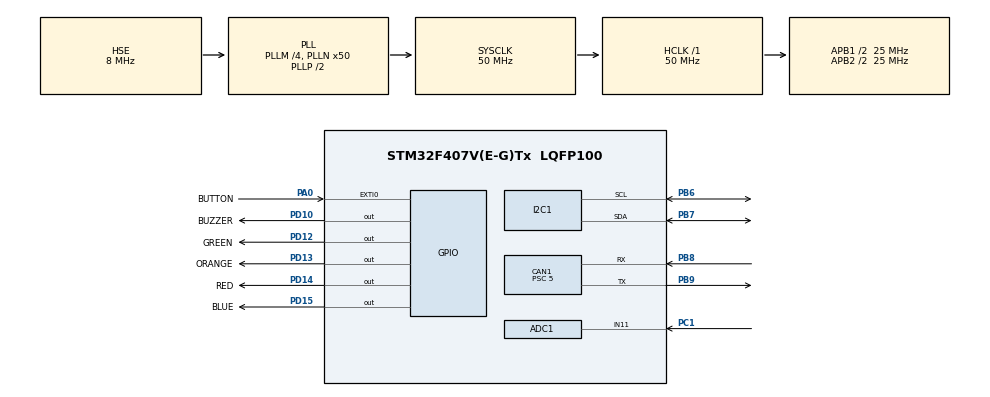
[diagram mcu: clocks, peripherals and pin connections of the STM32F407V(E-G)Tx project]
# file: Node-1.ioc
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ADC1.Channel-4\#ChannelRegularConversion=ADC_CHANNEL_11
ADC1.NbrOfConversionFlag=1
ADC1.Rank-4\#ChannelRegularConversion=1
ADC1.Resolution=ADC_RESOLUTION_10B
ADC1.SamplingTime-4\#ChannelRegularConversion=ADC_SAMPLETIME_3CYCLES
ADC1.master=1
CAN1.BS1=CAN_BS1_8TQ
CAN1.CalculateBaudRate=500000
CAN1.CalculateTimeBit=2000
CAN1.CalculateTimeQuantum=200.0
CAN1.Prescaler=5
Dma.I2C1_RX.0.Direction=DMA_PERIPH_TO_MEMORY
Dma.I2C1_RX.0.FIFOMode=DMA_FIFOMODE_DISABLE
Dma.I2C1_RX.0.Instance=DMA1_Stream0
Dma.I2C1_RX.0.MemDataAlignment=DMA_MDATAALIGN_BYTE
Dma.I2C1_RX.0.MemInc=DMA_MINC_ENABLE
Dma.I2C1_RX.0.Mode=DMA_NORMAL
Dma.I2C1_RX.0.PeriphDataAlignment=DMA_PDATAALIGN_BYTE
Dma.I2C1_RX.0.PeriphInc=DMA_PINC_DISABLE
Dma.I2C1_RX.0.Priority=DMA_PRIORITY_LOW
Dma.I2C1_TX.1.Direction=DMA_MEMORY_TO_PERIPH
Dma.I2C1_TX.1.FIFOMode=DMA_FIFOMODE_DISABLE
Dma.I2C1_TX.1.Instance=DMA1_Stream6
Dma.I2C1_TX.1.MemDataAlignment=DMA_MDATAALIGN_BYTE
Dma.I2C1_TX.1.MemInc=DMA_MINC_ENABLE
Dma.I2C1_TX.1.Mode=DMA_NORMAL
Dma.I2C1_TX.1.PeriphDataAlignment=DMA_PDATAALIGN_BYTE
Dma.I2C1_TX.1.PeriphInc=DMA_PINC_DISABLE
Dma.I2C1_TX.1.Priority=DMA_PRIORITY_LOW
Dma.Request0=I2C1_RX
Dma.Request1=I2C1_TX
Mcu.Family=STM32F4
Mcu.Name=STM32F407V(E-G)Tx
Mcu.Package=LQFP100
NVIC.ADC_IRQn=true\:0\:0\:false\:false\:true\:true\:true\:true
NVIC.CAN1_RX0_IRQn=true\:0\:0\:false\:false\:true\:true\:true\:true
NVIC.CAN1_SCE_IRQn=true\:0\:0\:false\:false\:true\:true\:true\:true
NVIC.CAN1_TX_IRQn=true\:0\:0\:false\:false\:true\:true\:true\:true
NVIC.DMA1_Stream0_IRQn=true\:0\:0\:false\:false\:true\:false\:true\:true
NVIC.DMA1_Stream6_IRQn=true\:0\:0\:false\:false\:true\:false\:true\:true
NVIC.EXTI0_IRQn=true\:0\:0\:false\:false\:true\:true\:true\:true
NVIC.PriorityGroup=NVIC_PRIORITYGROUP_0
NVIC.TIM6_DAC_IRQn=true\:0\:0\:false\:false\:true\:true\:true\:true
PA0-WKUP.GPIO_Label=BUTTON
PA0-WKUP.Signal=GPXTI0
PB6.GPIO_Pu=GPIO_PULLUP
PB6.Mode=I2C
PB6.Signal=I2C1_SCL
PB7.GPIO_Pu=GPIO_PULLUP
PB7.Mode=I2C
PB7.Signal=I2C1_SDA
PB8.GPIO_PuPd=GPIO_PULLUP
PB8.Mode=CAN_Activate
PB8.Signal=CAN1_RX
PB9.GPIO_PuPd=GPIO_PULLUP
PB9.Mode=CAN_Activate
PB9.Signal=CAN1_TX
PC1.Signal=ADCx_IN11
PD10.GPIO_Label=BUZZER
PD10.Signal=GPIO_Output
PD12.GPIO_Label=GREEN
PD12.Signal=GPIO_Output
PD13.GPIO_Label=ORANGE
PD13.Signal=GPIO_Output
PD14.GPIO_Label=RED
PD14.Signal=GPIO_Output
PD15.GPIO_Label=BLUE
PD15.Signal=GPIO_Output
PH0-OSC_IN.Mode=HSE-External-Oscillator
PH0-OSC_IN.Signal=RCC_OSC_IN
PH1-OSC_OUT.Mode=HSE-External-Oscillator
PH1-OSC_OUT.Signal=RCC_OSC_OUT
ProjectManager.HeapSize=0x200
ProjectManager.StackSize=0x400
ProjectManager.TargetToolchain=STM32CubeIDE
RCC.48MHZClocksFreq_Value=14285714.285714285
RCC.AHBFreq_Value=50000000
RCC.APB1CLKDivider=RCC_HCLK_DIV2
RCC.APB1Freq_Value=25000000
RCC.APB1TimFreq_Value=50000000
RCC.APB2CLKDivider=RCC_HCLK_DIV2
RCC.APB2Freq_Value=25000000
RCC.APB2TimFreq_Value=50000000
RCC.CortexFreq_Value=50000000
RCC.HCLKFreq_Value=50000000
RCC.HSE_VALUE=8000000
RCC.HSI_VALUE=16000000
RCC.LSE_VALUE=32768
RCC.PLLM=4
RCC.PLLN=50
RCC.PLLQ=7
RCC.PLLSourceVirtual=RCC_PLLSOURCE_HSE
RCC.SYSCLKFreq_VALUE=50000000
RCC.SYSCLKSource=RCC_SYSCLKSOURCE_PLLCLK
RCC.VCOOutputFreq_Value=100000000
SH.ADCx_IN11.0=ADC1_IN11,IN11
TIM6.Period=499
TIM6.Prescaler=50-1
VP_TIM6_VS_ClockSourceINT.Mode=Enable_Timer
board=STM32F407G-DISC1

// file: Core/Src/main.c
/* USER CODE BEGIN Header */
/**
  ******************************************************************************
  * @file           : main.c
  * @brief          : Main program body
  ******************************************************************************
  * @attention
  *
  * Copyright (c) 2024 STMicroelectronics.
  * All rights reserved.
  *
  * This software is licensed under terms that can be found in the LICENSE file
  * in the root directory of this software component.
  * If no LICENSE file comes with this software, it is provided AS-IS.
  *
  ******************************************************************************
  */
/* USER CODE END Header */
#include "main.h"

/* USER CODE BEGIN Includes */
#include "math.h"
#include "stdio.h"
#include "string.h"
/* USER CODE END Includes */

ADC_HandleTypeDef hadc1;

CAN_HandleTypeDef hcan1;

I2C_HandleTypeDef hi2c1;
DMA_HandleTypeDef hdma_i2c1_tx;
DMA_HandleTypeDef hdma_i2c1_rx;

TIM_HandleTypeDef htim6;

/* USER CODE BEGIN PV */
uint8_t I2cData[2];
uint8_t Temperature = 0  ;
int RawTemp = 0 ;
uint8_t ButtonFlag = 0 ;
uint8_t EtatButton = 0 ;
uint8_t AdcConvertCpltFlag = 0 ;
uint8_t AdcValue = 0;
////////////CAN///////////////
uint8_t aTxData[3];
uint8_t CanFlag = 0 ;
uint32_t TxMailbox;
CAN_TxHeaderTypeDef TxHeader;
/* USER CODE END PV */

void SystemClock_Config(void);
static void MX_GPIO_Init(void);
static void MX_DMA_Init(void);
static void MX_I2C1_Init(void);
static void MX_CAN1_Init(void);
static void MX_TIM6_Init(void);
static void MX_ADC1_Init(void);
/* USER CODE BEGIN PFP */
static uint8_t Read_Temperature(void);
static void CAN1_Tx(void) ;
static void Button_Urgence(void);
static uint8_t Rythem_Cardique(void);
/* USER CODE END PFP */

int main(void)
{

  /* MCU Configuration--------------------------------------------------------*/

  /* Reset of all peripherals, Initializes the Flash interface and the Systick. */
  HAL_Init();

  /* Configure the system clock */
  SystemClock_Config();

  /* Initialize all configured peripherals */
  MX_GPIO_Init();
  MX_DMA_Init();
  MX_I2C1_Init();
  MX_CAN1_Init();
  MX_TIM6_Init();
  MX_ADC1_Init();
  /* USER CODE BEGIN 2 */
 if(HAL_I2C_IsDeviceReady(&hi2c1,0xB5,1,100)!=HAL_OK)
 {
  	Error_Handler();
 }
 if (HAL_CAN_Start(&hcan1) !=HAL_OK)
 {
	  Error_Handler();
 }
 if ( HAL_CAN_ActivateNotification(&hcan1,CAN_IT_RX_FIFO0_MSG_PENDING | CAN_IT_TX_MAILBOX_EMPTY )!= HAL_OK)
  {
    Error_Handler();
  }
 if ( HAL_ADC_Start_IT( &hadc1 ) != HAL_OK )
 {
	  Error_Handler();
 }

  /* USER CODE END 2 */

  /* Infinite loop */
  while (1)
  {

    /* USER CODE BEGIN 3 */
	  //Button_Urgence();
	  Rythem_Cardique();
	  Read_Temperature();
	  CAN1_Tx();

	  if( 1 == CanFlag )
	  {
		  HAL_GPIO_WritePin( GREEN_GPIO_Port, GREEN_Pin , GPIO_PIN_SET);
		  HAL_Delay(1000);
		  HAL_GPIO_WritePin( GREEN_GPIO_Port,  GREEN_Pin , GPIO_PIN_RESET);
		  CanFlag = 0;
	  }
	  else if ( 2 == CanFlag )
	  {
		  HAL_GPIO_WritePin(RED_GPIO_Port, RED_Pin , GPIO_PIN_SET);
		  HAL_Delay(1000);
		  HAL_GPIO_WritePin(RED_GPIO_Port, RED_Pin   , GPIO_PIN_RESET);
		  CanFlag = 0;
	  }

      HAL_Delay(50);
  }
  /* USER CODE END 3 */
}

void SystemClock_Config(void)
{
  RCC_OscInitTypeDef RCC_OscInitStruct = {0};
  RCC_ClkInitTypeDef RCC_ClkInitStruct = {0};

  /** Configure the main internal regulator output voltage
  */
  __HAL_RCC_PWR_CLK_ENABLE();
  __HAL_PWR_VOLTAGESCALING_CONFIG(PWR_REGULATOR_VOLTAGE_SCALE1);

  /** Initializes the RCC Oscillators according to the specified parameters
  * in the RCC_OscInitTypeDef structure.
  */
  RCC_OscInitStruct.OscillatorType = RCC_OSCILLATORTYPE_HSE;
  RCC_OscInitStruct.HSEState = RCC_HSE_ON;
  RCC_OscInitStruct.PLL.PLLState = RCC_PLL_ON;
  RCC_OscInitStruct.PLL.PLLSource = RCC_PLLSOURCE_HSE;
  RCC_OscInitStruct.PLL.PLLM = 4;
  RCC_OscInitStruct.PLL.PLLN = 50;
  RCC_OscInitStruct.PLL.PLLP = RCC_PLLP_DIV2;
  RCC_OscInitStruct.PLL.PLLQ = 7;
  if (HAL_RCC_OscConfig(&RCC_OscInitStruct) != HAL_OK)
  {
    Error_Handler();
  }

  /** Initializes the CPU, AHB and APB buses clocks
  */
  RCC_ClkInitStruct.ClockType = RCC_CLOCKTYPE_HCLK|RCC_CLOCKTYPE_SYSCLK
                              |RCC_CLOCKTYPE_PCLK1|RCC_CLOCKTYPE_PCLK2;
  RCC_ClkInitStruct.SYSCLKSource = RCC_SYSCLKSOURCE_PLLCLK;
  RCC_ClkInitStruct.AHBCLKDivider = RCC_SYSCLK_DIV1;
  RCC_ClkInitStruct.APB1CLKDivider = RCC_HCLK_DIV2;
  RCC_ClkInitStruct.APB2CLKDivider = RCC_HCLK_DIV2;

  if (HAL_RCC_ClockConfig(&RCC_ClkInitStruct, FLASH_LATENCY_1) != HAL_OK)
  {
    Error_Handler();
  }
}

static void MX_ADC1_Init(void)
{

  ADC_ChannelConfTypeDef sConfig = {0};

  /** Configure the global features of the ADC (Clock, Resolution, Data Alignment and number of conversion)
  */
  hadc1.Instance = ADC1;
  hadc1.Init.ClockPrescaler = ADC_CLOCK_SYNC_PCLK_DIV2;
  hadc1.Init.Resolution = ADC_RESOLUTION_10B;
  hadc1.Init.ScanConvMode = DISABLE;
  hadc1.Init.ContinuousConvMode = DISABLE;
  hadc1.Init.DiscontinuousConvMode = DISABLE;
  hadc1.Init.ExternalTrigConvEdge = ADC_EXTERNALTRIGCONVEDGE_NONE;
  hadc1.Init.ExternalTrigConv = ADC_SOFTWARE_START;
  hadc1.Init.DataAlign = ADC_DATAALIGN_RIGHT;
  hadc1.Init.NbrOfConversion = 1;
  hadc1.Init.DMAContinuousRequests = DISABLE;
  hadc1.Init.EOCSelection = ADC_EOC_SINGLE_CONV;
  if (HAL_ADC_Init(&hadc1) != HAL_OK)
  {
    Error_Handler();
  }

  /** Configure for the selected ADC regular channel its corresponding rank in the sequencer and its sample time.
  */
  sConfig.Channel = ADC_CHANNEL_11;
  sConfig.Rank = 1;
  sConfig.SamplingTime = ADC_SAMPLETIME_3CYCLES;
  if (HAL_ADC_ConfigChannel(&hadc1, &sConfig) != HAL_OK)
  {
    Error_Handler();
  }

}

static void MX_CAN1_Init(void)
{

  hcan1.Instance = CAN1;
  hcan1.Init.Prescaler = 5;
  hcan1.Init.Mode = CAN_MODE_NORMAL;
  hcan1.Init.SyncJumpWidth = CAN_SJW_1TQ;
  hcan1.Init.TimeSeg1 = CAN_BS1_8TQ;
  hcan1.Init.TimeSeg2 = CAN_BS2_1TQ;
  hcan1.Init.TimeTriggeredMode = DISABLE;
  hcan1.Init.AutoBusOff = DISABLE;
  hcan1.Init.AutoWakeUp = DISABLE;
  hcan1.Init.AutoRetransmission = DISABLE;
  hcan1.Init.ReceiveFifoLocked = DISABLE;
  hcan1.Init.TransmitFifoPriority = DISABLE;
  if (HAL_CAN_Init(&hcan1) != HAL_OK)
  {
    Error_Handler();
  }

}

static void MX_I2C1_Init(void)
{

  hi2c1.Instance = I2C1;
  hi2c1.Init.ClockSpeed = 100000;
  hi2c1.Init.DutyCycle = I2C_DUTYCYCLE_2;
  hi2c1.Init.OwnAddress1 = 0;
  hi2c1.Init.AddressingMode = I2C_ADDRESSINGMODE_7BIT;
  hi2c1.Init.DualAddressMode = I2C_DUALADDRESS_DISABLE;
  hi2c1.Init.OwnAddress2 = 0;
  hi2c1.Init.GeneralCallMode = I2C_GENERALCALL_DISABLE;
  hi2c1.Init.NoStretchMode = I2C_NOSTRETCH_DISABLE;
  if (HAL_I2C_Init(&hi2c1) != HAL_OK)
  {
    Error_Handler();
  }

}

static void MX_TIM6_Init(void)
{

  TIM_MasterConfigTypeDef sMasterConfig = {0};

  htim6.Instance = TIM6;
  htim6.Init.Prescaler = 50-1;
  htim6.Init.CounterMode = TIM_COUNTERMODE_UP;
  htim6.Init.Period = 499;
  htim6.Init.AutoReloadPreload = TIM_AUTORELOAD_PRELOAD_DISABLE;
  if (HAL_TIM_Base_Init(&htim6) != HAL_OK)
  {
    Error_Handler();
  }
  sMasterConfig.MasterOutputTrigger = TIM_TRGO_RESET;
  sMasterConfig.MasterSlaveMode = TIM_MASTERSLAVEMODE_DISABLE;
  if (HAL_TIMEx_MasterConfigSynchronization(&htim6, &sMasterConfig) != HAL_OK)
  {
    Error_Handler();
  }

}

static void MX_DMA_Init(void)
{

  /* DMA controller clock enable */
  __HAL_RCC_DMA1_CLK_ENABLE();

  /* DMA interrupt init */
  /* DMA1_Stream0_IRQn interrupt configuration */
  HAL_NVIC_SetPriority(DMA1_Stream0_IRQn, 0, 0);
  HAL_NVIC_EnableIRQ(DMA1_Stream0_IRQn);
  /* DMA1_Stream6_IRQn interrupt configuration */
  HAL_NVIC_SetPriority(DMA1_Stream6_IRQn, 0, 0);
  HAL_NVIC_EnableIRQ(DMA1_Stream6_IRQn);

}

static void MX_GPIO_Init(void)
{
  GPIO_InitTypeDef GPIO_InitStruct = {0};

  /* GPIO Ports Clock Enable */
  __HAL_RCC_GPIOH_CLK_ENABLE();
  __HAL_RCC_GPIOC_CLK_ENABLE();
  __HAL_RCC_GPIOA_CLK_ENABLE();
  __HAL_RCC_GPIOD_CLK_ENABLE();
  __HAL_RCC_GPIOB_CLK_ENABLE();

  /*Configure GPIO pin Output Level */
  HAL_GPIO_WritePin(GPIOD, BUZZER_Pin| GREEN_Pin|ORANGE_Pin|RED_Pin
                          |BLUE_Pin, GPIO_PIN_RESET);

  /*Configure GPIO pin : BUTTON_Pin */
  GPIO_InitStruct.Pin = BUTTON_Pin;
  GPIO_InitStruct.Mode = GPIO_MODE_IT_RISING;
  GPIO_InitStruct.Pull = GPIO_NOPULL;
  HAL_GPIO_Init(BUTTON_GPIO_Port, &GPIO_InitStruct);

  /*Configure GPIO pins : BUZZER_Pin VERT_Pin ORANGE_Pin RED_Pin
                           BLUE_Pin */
  GPIO_InitStruct.Pin = BUZZER_Pin| GREEN_Pin|ORANGE_Pin|RED_Pin
                          |BLUE_Pin;
  GPIO_InitStruct.Mode = GPIO_MODE_OUTPUT_PP;
  GPIO_InitStruct.Pull = GPIO_NOPULL;
  GPIO_InitStruct.Speed = GPIO_SPEED_FREQ_LOW;
  HAL_GPIO_Init(GPIOD, &GPIO_InitStruct);

  /* EXTI interrupt init*/
  HAL_NVIC_SetPriority(EXTI0_IRQn, 0, 0);
  HAL_NVIC_EnableIRQ(EXTI0_IRQn);

}

/* USER CODE BEGIN 4 */
void HAL_ADC_ConvCpltCallback(ADC_HandleTypeDef* hadc)
{
	AdcConvertCpltFlag = 1;
}
static uint8_t Rythem_Cardique(void){
	if( 1 == AdcConvertCpltFlag  )
	{
	  AdcValue = HAL_ADC_GetValue( &hadc1 )/8;
	  if( HAL_ADC_Stop_IT( &hadc1 ) != HAL_OK )
	  {
		  Error_Handler();
	  }
      AdcConvertCpltFlag = 0 ;
	  if ( HAL_ADC_Start_IT( &hadc1 ) != HAL_OK )
	  {
		  Error_Handler();
	  }

	}
	return AdcValue ;
}
void HAL_TIM_PeriodElapsedCallback(TIM_HandleTypeDef *htim)
{
	if (htim->Instance==TIM6)
	{
		 HAL_GPIO_WritePin(BUZZER_GPIO_Port, BUZZER_Pin, GPIO_PIN_SET);
    }
}
void HAL_GPIO_EXTI_Callback(uint16_t GPIO_Pin)
{
	if(GPIO_Pin == BUTTON_Pin)
     {
	  ButtonFlag++ ;
	  Button_Urgence();
     }

}
static void Button_Urgence(void)
{
      if (1 == ButtonFlag)
	  {
	   EtatButton = 1 ;
	   HAL_TIM_Base_Start_IT(&htim6);
	  }
      else if (2 == ButtonFlag)
	  {
      HAL_TIM_Base_Stop_IT(&htim6);
	  HAL_GPIO_WritePin(BUZZER_GPIO_Port, BUZZER_Pin, GPIO_PIN_RESET);
	  ButtonFlag = 0;
	  EtatButton = 0 ;
	  }
}
static uint8_t Read_Temperature(void) {
   HAL_I2C_Mem_Read_DMA(&hi2c1 , 0xB4 , 0x07 , 1 , (uint8_t*) I2cData , 2);
   RawTemp = ((I2cData[1] << 8) | (I2cData[0]));
   Temperature = round(RawTemp * 0.02 - 273.15);
   HAL_Delay(100);
 return Temperature;
}

static void CAN1_Tx(void)
{

	aTxData[0]=EtatButton;
	aTxData[1]=Temperature;
	aTxData[2]= AdcValue;
	if ( 1 == aTxData[0] )
	{
    TxHeader.StdId= 0x0FF;
	}
	else if( 30 < aTxData[1] )
	{
    TxHeader.StdId= 0x1FF;
	}
	else
	{
	TxHeader.StdId= 0x3FF;
	}

    TxHeader.RTR= CAN_RTR_DATA;
	TxHeader.IDE= CAN_ID_STD;
	TxHeader.DLC= 3;
	TxHeader.TransmitGlobalTime = DISABLE;
	if(HAL_CAN_AddTxMessage(&hcan1, &TxHeader,aTxData , &TxMailbox) != HAL_OK)
	{
		Error_Handler();
	}
}

void HAL_CAN_TxMailbox0CompleteCallback(CAN_HandleTypeDef *hcan)
{
	if (hcan->Instance== CAN1)
	{
		CanFlag=1;
    }

}

void HAL_CAN_TxMailbox1CompleteCallback(CAN_HandleTypeDef *hcan)
{
	if (hcan->Instance== CAN1)
	{
		CanFlag=1;
    }

}

void HAL_CAN_TxMailbox2CompleteCallback(CAN_HandleTypeDef *hcan)
{
	if (hcan->Instance== CAN1)
	{
		CanFlag=1;
    }

}

void HAL_CAN_ErrorCallback(CAN_HandleTypeDef *hcan)
{
	if (hcan->Instance== CAN1)
	{
		CanFlag=2;
    }

}
/* USER CODE END 4 */

void Error_Handler(void)
{
  __disable_irq();
  while (1)
  {
  }
}
